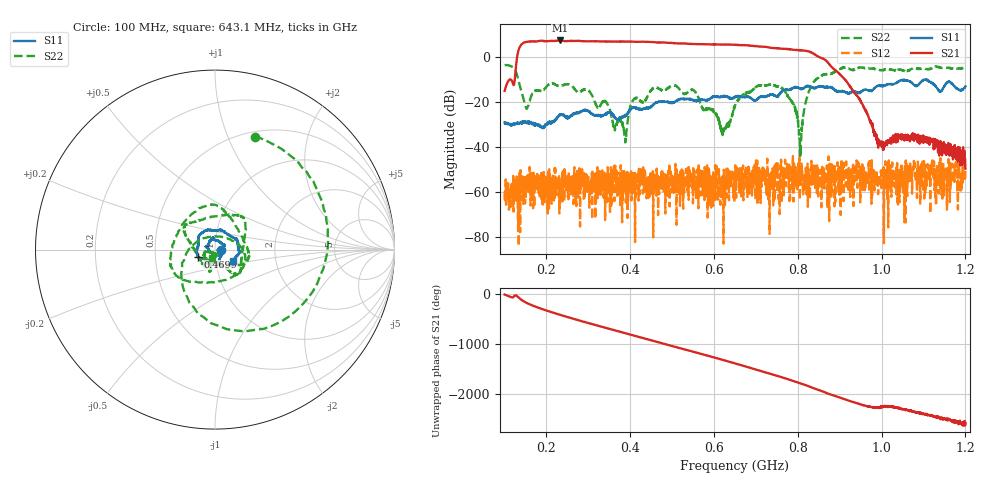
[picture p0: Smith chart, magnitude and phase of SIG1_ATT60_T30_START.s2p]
# Hz S DB R 50
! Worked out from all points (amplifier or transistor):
!   1601 points, 100 MHz to 1.2 GHz, reference 50 ohm
!   highest |S21| = 7.5 dB at 232 MHz (marker M1)
!   |S21| within 3 dB of that: 135.9 MHz to 728.3 MHz (592.4 MHz wide, 137 % of centre)
!   unconditionally stable (mu >= 1): start of sweep to end of sweep
!   at 282.9 MHz: K = 170.36, MAG = 7.4 dB, |S12| = -58.2 dB
!   at 650 MHz: K = 225.69, MAG = 5.6 dB, |S12| = -58.8 dB
!   at 1.2 GHz: K = 31488.11, MAG = -47.5 dB, |S12| = -50.6 dB
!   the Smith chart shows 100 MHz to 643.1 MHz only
!   S11 on the Smith chart (normalised r, x): 100 MHz: 1.07, -0.01; 469.9 MHz: 0.82, -0.06; 643.1 MHz: 1.22, -0.16
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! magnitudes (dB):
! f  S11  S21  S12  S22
! 100 MHz  -29.0  -14.9  -63.4  -3.5
! 124.1 MHz  -29.7  -10.2  -60.6  -5.3
! 135.1 MHz  -29.2  4.1  -51.6  -11.7
! 152.2 MHz  -28.8  6.9  -53.8  -22.9
! 232 MHz  -25.3  7.5  -65.1  -12.9
! 283.6 MHz  -24.2  7.2  -51.2  -14.9
! 387.4 MHz  -26.5  7.0  -59.2  -35.1
! 408 MHz  -22.3  7.0  -58.5  -18.7
! 467.1 MHz  -20.0  6.6  -53.8  -13.8
! 469.9 MHz  -19.8  6.6  -54.0  -14.1
! 551 MHz  -19.0  5.9  -55.8  -14.8
! 620.4 MHz  -17.4  5.7  -61.2  -34.6
! 643.1 MHz  -18.3  5.6  -50.2  -25.6
! 650 MHz  -17.9  5.5  -58.8  -21.5
! 757.2 MHz  -16.2  3.9  -56.1  -13.1
! 790.9 MHz  -13.4  3.3  -47.3  -21.1
! 805.4 MHz  -13.8  3.2  -52.4  -44.1
! 833.6 MHz  -13.5  2.0  -56.8  -12.2
! 917.4 MHz  -15.7  -11.0  -53.3  -4.7
! 995.8 MHz  -12.6  -38.3  -54.6  -5.6
! 1.017 GHz  -11.9  -37.9  -45.9  -5.3
! 1.2 GHz  -12.9  -49.6  -50.6  -4.5
